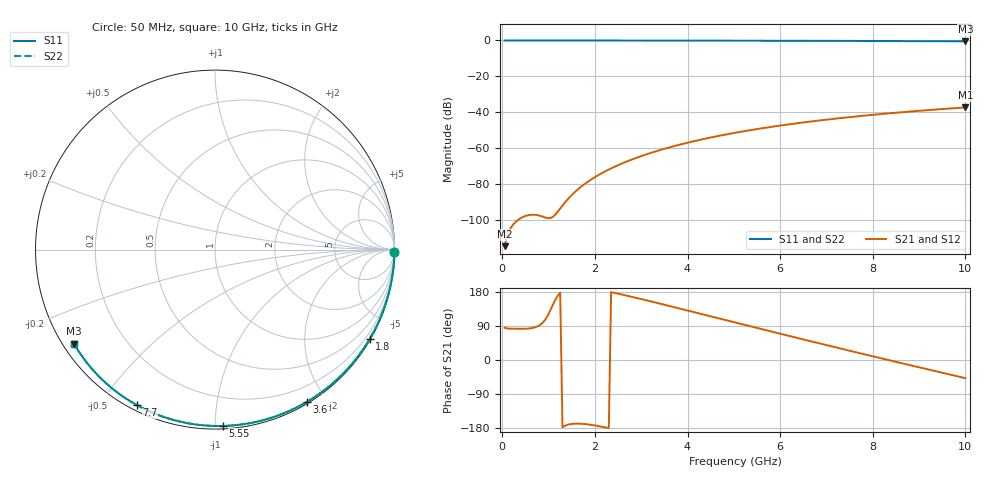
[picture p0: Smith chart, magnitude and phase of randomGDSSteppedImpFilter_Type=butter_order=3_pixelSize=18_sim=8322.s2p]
! freq	dB(S11)	phase(S11)	dB(S12)	phase(S12)
!  dB(S21)	phase(S21)	dB(S22)	phase(S22)
!S-par simulation data
#  GHz  S  DB  R 50
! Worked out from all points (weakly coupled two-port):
!   200 points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, 50 MHz to 10 GHz, reference 50 ohm
!   highest |S21| = -37.31 dB at 10 GHz (marker M1); lowest = -114.6 dB at 50 MHz (marker M2)
!   lowest |S11| = -0.5 dB at 10 GHz (marker M3), VSWR 35.18, Z = 1.55 - j15.1 ohm
!   |S11| at or under -10 dB: nowhere
!   |S22| runs from -0.5 to 0.0 dB; largest |S21 - S12| = 0
!   S11 on the Smith chart (normalised r, x): 50 MHz: open; 1.8 GHz: 0.03, -3.71; 3.6 GHz: 0.02, -1.78; 5.55 GHz: 0.02, -1.04; 7.7 GHz: 0.02, -0.62; 10 GHz: 0.03, -0.30
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0.05  -0.00 -0.9  -114.59 85.2  -114.59 85.2  -0.00 -0.9
0.45  -0.01 -7.7  -98.27 82.3  -98.27 82.3  -0.01 -7.7
0.9  -0.02 -15.2  -98.38 102.0  -98.38 102.0  -0.02 -15.2
1.3  -0.03 -21.9  -91.94 -177.4  -91.94 -177.4  -0.03 -21.9
1.75  -0.04 -29.3  -80.50 -168.7  -80.50 -168.7  -0.04 -29.3
1.8  -0.04 -30.1  -79.54 -169.3  -79.54 -169.3  -0.04 -30.1
1.95  -0.04 -32.6  -76.93 -171.8  -76.93 -171.8  -0.04 -32.6
2.1  -0.04 -35.0  -74.63 -174.9  -74.63 -174.9  -0.04 -35.0
2.3  -0.05 -38.3  -71.89 -179.7  -71.89 -179.7  -0.05 -38.3
2.5  -0.05 -41.5  -69.47 175.0  -69.47 175.0  -0.05 -41.5
2.9  -0.06 -47.9  -65.33 163.7  -65.33 163.7  -0.06 -47.9
3.4  -0.07 -55.7  -61.09 148.9  -61.09 148.9  -0.07 -55.7
3.6  -0.08 -58.8  -59.62 142.8  -59.62 142.8  -0.08 -58.8
4.3  -0.10 -69.4  -55.17 121.4  -55.17 121.4  -0.10 -69.4
5.05  -0.12 -80.4  -51.33 98.4  -51.33 98.4  -0.12 -80.4
5.55  -0.14 -87.5  -49.16 83.1  -49.16 83.1  -0.14 -87.5
6.1  -0.17 -95.2  -47.05 66.3  -47.05 66.3  -0.17 -95.2
6.7  -0.20 -103.3  -45.03 48.3  -45.03 48.3  -0.20 -103.3
7.7  -0.27 -116.6  -42.17 18.6  -42.17 18.6  -0.27 -116.6
8.35  -0.32 -125.1  -40.58 -0.5  -40.58 -0.5  -0.32 -125.1
9.2  -0.40 -136.1  -38.78 -25.0  -38.78 -25.0  -0.40 -136.1
10  -0.49 -146.3  -37.31 -48.0  -37.31 -48.0  -0.49 -146.4
